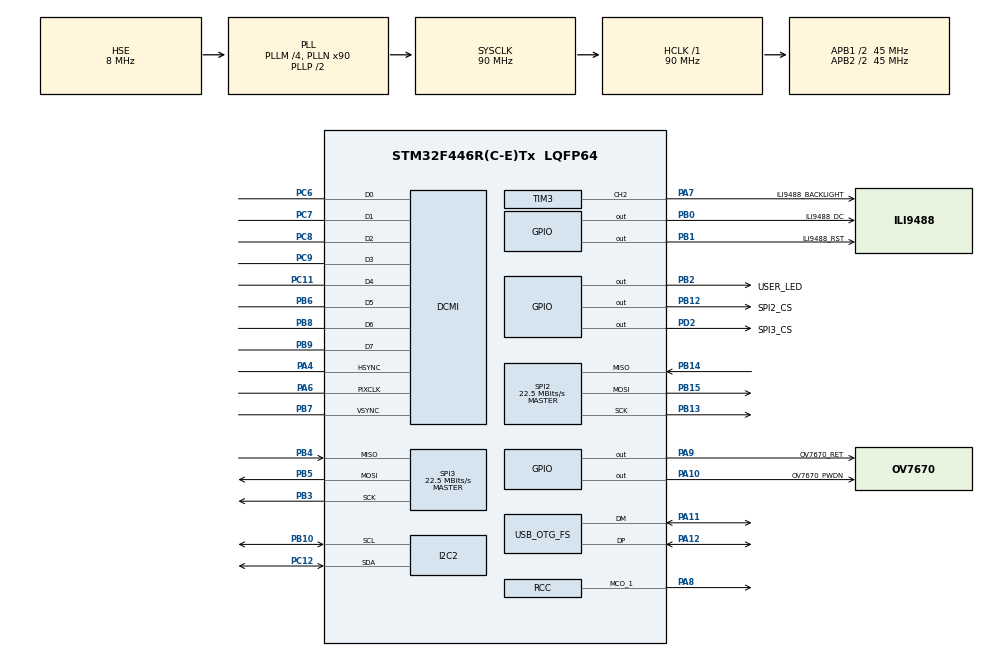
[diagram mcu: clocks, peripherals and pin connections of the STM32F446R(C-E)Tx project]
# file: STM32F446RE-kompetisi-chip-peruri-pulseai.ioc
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DCMI.JPEGMode=DCMI_JPEG_DISABLE
DCMI.PCKPolarity=DCMI_PCKPOLARITY_RISING
DCMI.VSPolarity=DCMI_VSPOLARITY_HIGH
Dma.DCMI.2.Direction=DMA_PERIPH_TO_MEMORY
Dma.DCMI.2.FIFOMode=DMA_FIFOMODE_DISABLE
Dma.DCMI.2.Instance=DMA2_Stream1
Dma.DCMI.2.MemDataAlignment=DMA_MDATAALIGN_WORD
Dma.DCMI.2.MemInc=DMA_MINC_ENABLE
Dma.DCMI.2.Mode=DMA_CIRCULAR
Dma.DCMI.2.PeriphDataAlignment=DMA_PDATAALIGN_WORD
Dma.DCMI.2.PeriphInc=DMA_PINC_DISABLE
Dma.DCMI.2.Priority=DMA_PRIORITY_LOW
Dma.Request0=SPI2_RX
Dma.Request1=SPI2_TX
Dma.Request2=DCMI
Dma.Request3=SPI3_RX
Dma.Request4=SPI3_TX
Dma.SPI2_RX.0.Direction=DMA_PERIPH_TO_MEMORY
Dma.SPI2_RX.0.FIFOMode=DMA_FIFOMODE_DISABLE
Dma.SPI2_RX.0.Instance=DMA1_Stream3
Dma.SPI2_RX.0.MemDataAlignment=DMA_MDATAALIGN_BYTE
Dma.SPI2_RX.0.MemInc=DMA_MINC_ENABLE
Dma.SPI2_RX.0.Mode=DMA_NORMAL
Dma.SPI2_RX.0.PeriphDataAlignment=DMA_PDATAALIGN_BYTE
Dma.SPI2_RX.0.PeriphInc=DMA_PINC_DISABLE
Dma.SPI2_RX.0.Priority=DMA_PRIORITY_LOW
Dma.SPI2_TX.1.Direction=DMA_MEMORY_TO_PERIPH
Dma.SPI2_TX.1.FIFOMode=DMA_FIFOMODE_DISABLE
Dma.SPI2_TX.1.Instance=DMA1_Stream4
Dma.SPI2_TX.1.MemDataAlignment=DMA_MDATAALIGN_BYTE
Dma.SPI2_TX.1.MemInc=DMA_MINC_ENABLE
Dma.SPI2_TX.1.Mode=DMA_NORMAL
Dma.SPI2_TX.1.PeriphDataAlignment=DMA_PDATAALIGN_BYTE
Dma.SPI2_TX.1.PeriphInc=DMA_PINC_DISABLE
Dma.SPI2_TX.1.Priority=DMA_PRIORITY_LOW
Dma.SPI3_RX.3.Direction=DMA_PERIPH_TO_MEMORY
Dma.SPI3_RX.3.FIFOMode=DMA_FIFOMODE_DISABLE
Dma.SPI3_RX.3.Instance=DMA1_Stream0
Dma.SPI3_RX.3.MemDataAlignment=DMA_MDATAALIGN_BYTE
Dma.SPI3_RX.3.MemInc=DMA_MINC_ENABLE
Dma.SPI3_RX.3.Mode=DMA_NORMAL
Dma.SPI3_RX.3.PeriphDataAlignment=DMA_PDATAALIGN_BYTE
Dma.SPI3_RX.3.PeriphInc=DMA_PINC_DISABLE
Dma.SPI3_RX.3.Priority=DMA_PRIORITY_LOW
Dma.SPI3_TX.4.Direction=DMA_MEMORY_TO_PERIPH
Dma.SPI3_TX.4.FIFOMode=DMA_FIFOMODE_DISABLE
Dma.SPI3_TX.4.Instance=DMA1_Stream5
Dma.SPI3_TX.4.MemDataAlignment=DMA_MDATAALIGN_BYTE
Dma.SPI3_TX.4.MemInc=DMA_MINC_ENABLE
Dma.SPI3_TX.4.Mode=DMA_NORMAL
Dma.SPI3_TX.4.PeriphDataAlignment=DMA_PDATAALIGN_BYTE
Dma.SPI3_TX.4.PeriphInc=DMA_PINC_DISABLE
Dma.SPI3_TX.4.Priority=DMA_PRIORITY_LOW
Mcu.Family=STM32F4
Mcu.Name=STM32F446R(C-E)Tx
Mcu.Package=LQFP64
NVIC.DCMI_IRQn=true\:0\:0\:false\:false\:true\:true\:true\:true
NVIC.DMA1_Stream0_IRQn=true\:0\:0\:false\:false\:true\:false\:true\:true
NVIC.DMA1_Stream3_IRQn=true\:0\:0\:false\:false\:true\:false\:true\:true
NVIC.DMA1_Stream4_IRQn=true\:0\:0\:false\:false\:true\:false\:true\:true
NVIC.DMA1_Stream5_IRQn=true\:0\:0\:false\:false\:true\:false\:true\:true
NVIC.DMA2_Stream1_IRQn=true\:0\:0\:false\:false\:true\:false\:true\:true
NVIC.I2C2_ER_IRQn=true\:0\:0\:false\:false\:true\:true\:true\:true
NVIC.I2C2_EV_IRQn=true\:0\:0\:false\:false\:true\:true\:true\:true
NVIC.OTG_FS_IRQn=true\:0\:0\:false\:false\:true\:false\:true\:true
NVIC.PriorityGroup=NVIC_PRIORITYGROUP_4
NVIC.SPI2_IRQn=true\:0\:0\:false\:false\:true\:true\:true\:true
NVIC.SPI3_IRQn=true\:0\:0\:false\:false\:true\:true\:true\:true
PA10.GPIO_Label=OV7670_PWDN
PA10.Signal=GPIO_Output
PA11.Mode=Device_Only
PA11.Signal=USB_OTG_FS_DM
PA12.Mode=Device_Only
PA12.Signal=USB_OTG_FS_DP
PA13.Mode=Serial_Wire
PA13.Signal=SYS_JTMS-SWDIO
PA14.Mode=Serial_Wire
PA14.Signal=SYS_JTCK-SWCLK
PA4.Mode=Slave_8_bits_External_Synchro
PA4.Signal=DCMI_HSYNC
PA6.Mode=Slave_8_bits_External_Synchro
PA6.Signal=DCMI_PIXCLK
PA7.GPIO_Label=ILI9488_BACKLIGHT
PA7.Signal=S_TIM3_CH2
PA8.GPIO_Speed=GPIO_SPEED_FREQ_HIGH
PA8.Mode=Clock-out-1
PA8.Signal=RCC_MCO_1
PA9.GPIO_Label=OV7670_RET
PA9.Signal=GPIO_Output
PB0.GPIO_Label=ILI9488_DC
PB0.Signal=GPIO_Output
PB1.GPIO_Label=ILI9488_RST
PB1.Signal=GPIO_Output
PB10.GPIO_Pu=GPIO_PULLUP
PB10.Mode=I2C
PB10.Signal=I2C2_SCL
PB12.GPIO_Label=SPI2_CS
PB12.Signal=GPIO_Output
PB13.Mode=Full_Duplex_Master
PB13.Signal=SPI2_SCK
PB14.Mode=Full_Duplex_Master
PB14.Signal=SPI2_MISO
PB15.Mode=Full_Duplex_Master
PB15.Signal=SPI2_MOSI
PB2.GPIO_Label=USER_LED
PB2.Signal=GPIO_Output
PB3.Mode=Full_Duplex_Master
PB3.Signal=SPI3_SCK
PB4.Mode=Full_Duplex_Master
PB4.Signal=SPI3_MISO
PB5.Mode=Full_Duplex_Master
PB5.Signal=SPI3_MOSI
PB6.Mode=Slave_8_bits_External_Synchro
PB6.Signal=DCMI_D5
PB7.Mode=Slave_8_bits_External_Synchro
PB7.Signal=DCMI_VSYNC
PB8.Mode=Slave_8_bits_External_Synchro
PB8.Signal=DCMI_D6
PB9.Mode=Slave_8_bits_External_Synchro
PB9.Signal=DCMI_D7
PC11.Mode=Slave_8_bits_External_Synchro
PC11.Signal=DCMI_D4
PC12.GPIO_Pu=GPIO_PULLUP
PC12.Mode=I2C
PC12.Signal=I2C2_SDA
PC14-OSC32_IN.Mode=LSE-External-Oscillator
PC14-OSC32_IN.Signal=RCC_OSC32_IN
PC15-OSC32_OUT.Mode=LSE-External-Oscillator
PC15-OSC32_OUT.Signal=RCC_OSC32_OUT
PC6.Mode=Slave_8_bits_External_Synchro
PC6.Signal=DCMI_D0
PC7.Mode=Slave_8_bits_External_Synchro
PC7.Signal=DCMI_D1
PC8.Mode=Slave_8_bits_External_Synchro
PC8.Signal=DCMI_D2
PC9.Mode=Slave_8_bits_External_Synchro
PC9.Signal=DCMI_D3
PD2.GPIO_Label=SPI3_CS
PD2.Signal=GPIO_Output
PH0-OSC_IN.Mode=HSE-External-Oscillator
PH0-OSC_IN.Signal=RCC_OSC_IN
PH1-OSC_OUT.Mode=HSE-External-Oscillator
PH1-OSC_OUT.Signal=RCC_OSC_OUT
ProjectManager.HeapSize=0x400
ProjectManager.StackSize=0x800
ProjectManager.TargetToolchain=STM32CubeIDE
RCC.AHBFreq_Value=90000000
RCC.APB1CLKDivider=RCC_HCLK_DIV2
RCC.APB1Freq_Value=45000000
RCC.APB1TimFreq_Value=90000000
RCC.APB2CLKDivider=RCC_HCLK_DIV2
RCC.APB2Freq_Value=45000000
RCC.APB2TimFreq_Value=90000000
RCC.CortexFreq_Value=90000000
RCC.HCLKFreq_Value=90000000
RCC.HSE_VALUE=8000000
RCC.PLLM=4
RCC.PLLN=90
RCC.PLLQ=5
RCC.PLLSAIM=4
RCC.PLLSAIN=96
RCC.PLLSAIP=RCC_PLLSAIP_DIV4
RCC.RCC_MCO1Source=RCC_MCO1SOURCE_PLLCLK
RCC.RCC_MCODiv1=RCC_MCODIV_4
RCC.SYSCLKFreq_VALUE=90000000
RCC.SYSCLKSource=RCC_SYSCLKSOURCE_PLLCLK
RCC.USBCLockSelection=RCC_CLK48CLKSOURCE_PLLSAIP
RCC.USBFreq_Value=48000000
RCC.VCOOutputFreq_Value=180000000
SH.S_TIM3_CH2.0=TIM3_CH2,PWM Generation2 CH2
SPI2.BaudRatePrescaler=SPI_BAUDRATEPRESCALER_2
SPI2.CalculateBaudRate=22.5 MBits/s
SPI2.Direction=SPI_DIRECTION_2LINES
SPI2.Mode=SPI_MODE_MASTER
SPI2.VirtualType=VM_MASTER
SPI3.CalculateBaudRate=22.5 MBits/s
SPI3.Direction=SPI_DIRECTION_2LINES
SPI3.Mode=SPI_MODE_MASTER
SPI3.VirtualType=VM_MASTER
TIM3.Channel-PWM\ Generation2\ CH2=TIM_CHANNEL_2
USB_DEVICE.CLASS_NAME_FS=CDC
USB_DEVICE.VirtualMode-CDC_FS=Cdc
USB_DEVICE.VirtualModeFS=Cdc_FS
USB_OTG_FS.VirtualMode=Device_Only
VP_LIBJPEG_VS_JPEGLIB.Mode=Enabled
VP_USB_DEVICE_VS_USB_DEVICE_CDC_FS.Mode=CDC_FS
board=custom

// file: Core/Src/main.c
/* USER CODE BEGIN Header */
/**
 ******************************************************************************
 * @file           : main.c
 * @brief          : Main program body
 ******************************************************************************
 * @attention
 *
 * Copyright (c) 2026 STMicroelectronics.
 * All rights reserved.
 *
 * This software is licensed under terms that can be found in the LICENSE file
 * in the root directory of this software component.
 * If no LICENSE file comes with this software, it is provided AS-IS.
 *
 ******************************************************************************
 */
/* USER CODE END Header */
#include "main.h"
#include "libjpeg.h"
#include "usb_device.h"

/* USER CODE BEGIN Includes */
#include "fonts.h"
#include "ili9488.h"
#include "ov7670.h"
#include "usbd_cdc_if.h"

/* USER CODE END Includes */

/* USER CODE BEGIN PTD */
uint8_t usb_tx_buf[786];
/* USER CODE END PTD */

DCMI_HandleTypeDef hdcmi;
DMA_HandleTypeDef hdma_dcmi;

I2C_HandleTypeDef hi2c2;

SPI_HandleTypeDef hspi2;
SPI_HandleTypeDef hspi3;
DMA_HandleTypeDef hdma_spi2_rx;
DMA_HandleTypeDef hdma_spi2_tx;
DMA_HandleTypeDef hdma_spi3_rx;
DMA_HandleTypeDef hdma_spi3_tx;

TIM_HandleTypeDef htim3;

/* USER CODE BEGIN PV */
uint32_t camera_frame_buf[240 * 160 / 2];
volatile uint8_t frame_ready = 0;
/* USER CODE END PV */

void SystemClock_Config(void);
static void MX_GPIO_Init(void);
static void MX_DMA_Init(void);
static void MX_DCMI_Init(void);
static void MX_SPI2_Init(void);
static void MX_I2C2_Init(void);
static void MX_TIM3_Init(void);
static void MX_SPI3_Init(void);

/* USER CODE BEGIN 0 */
void HAL_DCMI_FrameEventCallback(DCMI_HandleTypeDef *hdcmi) { frame_ready = 1; }
/* USER CODE END 0 */

int main(void) {

  /* MCU Configuration--------------------------------------------------------*/

  /* Reset of all peripherals, Initializes the Flash interface and the Systick.
   */
  HAL_Init();

  /* Configure the system clock */
  SystemClock_Config();

  /* Initialize all configured peripherals */
  MX_GPIO_Init();
  MX_DMA_Init();
  MX_DCMI_Init();
  MX_SPI2_Init();
  MX_I2C2_Init();
  MX_TIM3_Init();
  MX_LIBJPEG_Init();
  MX_USB_DEVICE_Init();
  MX_SPI3_Init();
  /* USER CODE BEGIN 2 */
  ILI9488_Init();
  ILI9488_FillScreen(ILI9488_BLACK);

  OV7670_Init();

  // Gunakan fitur Crop DCMI untuk mengambil jendela 240x160 dari kamera
  // beresolusi QVGA (320x240) X Offset = (320-240)/2 = 40 piksel = 80 bytes. Y
  // Offset = (240-160)/2 = 40 baris.
  HAL_DCMI_ConfigCrop(&hdcmi, 80, 40, 479, 159);
  HAL_DCMI_EnableCrop(&hdcmi);

  // Turn on Display Backlight (PA7 - TIM3_CH2)
  HAL_TIM_PWM_Start(&htim3, TIM_CHANNEL_2);
  __HAL_TIM_SET_COMPARE(&htim3, TIM_CHANNEL_2, 65535); // 100% brightness

  // Start DCMI in CONTINUOUS mode (camera writes to RAM continuously in
  // background)
  HAL_DCMI_Start_DMA(&hdcmi, DCMI_MODE_CONTINUOUS, (uint32_t)camera_frame_buf,
                     19200);
  /* USER CODE END 2 */

  /* Infinite loop */
  /* USER CODE BEGIN WHILE */
  uint8_t spi_tx_buf[98];
  uint8_t spi_rx_buf[98];

  while (1) {
    if (frame_ready) {
      frame_ready = 0; // Clear flag BEFORE drawing so we don't miss the next
                       // frame interrupt!
      HAL_GPIO_TogglePin(USER_LED_GPIO_Port, USER_LED_Pin);

      // --- 1. DOWNSAMPLING TO 28x28 AVERAGE POOLING ---
      usb_tx_buf[0] = 0xAA;
      usb_tx_buf[1] = 0x55;
      int idx = 2;

      // Bersihkan buffer SPI
      memset(spi_tx_buf, 0, sizeof(spi_tx_buf));

      int bit_idx = 0;
      // Loop untuk 28x28 piksel target
      for (int dy = 0; dy < 28; dy++) {
        for (int dx = 0; dx < 28; dx++) {

          uint32_t sum_gray = 0;

          // Average Pooling: Iterasi setiap piksel di dalam blok 4x4
          for (int by = 0; by < 4; by++) {
            for (int bx = 0; bx < 4; bx++) {

              int sy = 24 + (dy * 4) + by;
              int sx = 64 + (dx * 4) + bx;
              uint16_t p = ((uint16_t *)camera_frame_buf)[sy * 240 + sx];

              // Endian swap (karena OV7670 Big Endian)
              p = (p >> 8) | (p << 8);

              uint8_t r = (p & 0xF800) >> 8;
              uint8_t g = (p & 0x07E0) >> 3;
              uint8_t b = (p & 0x001F) << 3;

              // Formula Luminosity (Bobot persepsi mata manusia: Green paling
              // dominan) L = (2*R + 5*G + B) / 8 -> Sangat efisien dengan bit
              // shift (>> 3)
              uint8_t gray = ((r << 1) + (g * 5) + b) >> 3;

              sum_gray += gray;
            }
          }

          // Simpan nilai rata-rata dari 16 piksel
          uint8_t final_gray = sum_gray >> 4;
          usb_tx_buf[idx++] = final_gray;

          // Binarisasi dan Packing ke 98 bytes (784 bit) untuk FPGA
          // Ambang batas binarisasi = 127
          if (final_gray > 127) {
            int byte_pos = bit_idx / 8;
            int bit_pos = 7 - (bit_idx % 8); // MSB first
            spi_tx_buf[byte_pos] |= (1 << bit_pos);
          }
          bit_idx++;
        }
      }

      // Kirim 786 byte ke PC via USB CDC
      CDC_Transmit_FS(usb_tx_buf, 786);

      // --- 2. KIRIM FRAME DAN BACA HASIL SEKALIGUS (FULL DUPLEX) ---
      // STM32 mengirim 98 bytes (784 bit) biner, dan MISO akan mengeluarkan
      // hasil frame sebelumnya
      HAL_GPIO_WritePin(SPI3_CS_GPIO_Port, SPI3_CS_Pin, GPIO_PIN_RESET);
      HAL_SPI_TransmitReceive(&hspi3, spi_tx_buf, spi_rx_buf, 98,
                              HAL_MAX_DELAY);
      HAL_GPIO_WritePin(SPI3_CS_GPIO_Port, SPI3_CS_Pin, GPIO_PIN_SET);

      // Tunggu FPGA memproses frame yang baru saja dikirim (hasilnya dibaca di
      // loop berikutnya)
      HAL_Delay(1);

      // --- 4. TAMPILKAN KE LAYAR LCD ---
      ILI9488_DrawCameraFrame((uint16_t *)camera_frame_buf);

      // Decode Hasil FPGA (Marker 0xAA)
      // Format dari fpga tx_shift_reg: {6'b101010, tx_data}
      if ((spi_rx_buf[0] & 0xFC) == 0xA8) {
        uint8_t class_id = spi_rx_buf[0] & 0x03;
        const char *labels[] = {"Tidak ada benda terdeteksi", "Lingkaran",
                                "Segiempat", "Segitiga"};

        // Gambar Background Label di pojok layar
        ILI9488_FillRectangle(10, 10, 400, 30, ILI9488_BLACK);
        ILI9488_WriteStringScaled(15, 15, labels[class_id], Font_7x10,
                                  ILI9488_GREEN, ILI9488_BLACK, 2);
      } else { // komunikasi spi ada yang salah
        ILI9488_FillRectangle(10, 10, 400, 30, ILI9488_BLACK);
        ILI9488_WriteStringScaled(15, 15, "SPI ERROR", Font_7x10, ILI9488_GREEN,
                                  ILI9488_BLACK, 2);
      }
    }
    /* USER CODE END WHILE */

  }
}

void SystemClock_Config(void) {
  RCC_OscInitTypeDef RCC_OscInitStruct = {0};
  RCC_ClkInitTypeDef RCC_ClkInitStruct = {0};

  /** Configure the main internal regulator output voltage
   */
  __HAL_RCC_PWR_CLK_ENABLE();
  __HAL_PWR_VOLTAGESCALING_CONFIG(PWR_REGULATOR_VOLTAGE_SCALE3);

  /** Initializes the RCC Oscillators according to the specified parameters
   * in the RCC_OscInitTypeDef structure.
   */
  RCC_OscInitStruct.OscillatorType = RCC_OSCILLATORTYPE_HSE;
  RCC_OscInitStruct.HSEState = RCC_HSE_ON;
  RCC_OscInitStruct.PLL.PLLState = RCC_PLL_ON;
  RCC_OscInitStruct.PLL.PLLSource = RCC_PLLSOURCE_HSE;
  RCC_OscInitStruct.PLL.PLLM = 4;
  RCC_OscInitStruct.PLL.PLLN = 90;
  RCC_OscInitStruct.PLL.PLLP = RCC_PLLP_DIV2;
  RCC_OscInitStruct.PLL.PLLQ = 5;
  RCC_OscInitStruct.PLL.PLLR = 2;
  if (HAL_RCC_OscConfig(&RCC_OscInitStruct) != HAL_OK) {
    Error_Handler();
  }

  /** Initializes the CPU, AHB and APB buses clocks
   */
  RCC_ClkInitStruct.ClockType = RCC_CLOCKTYPE_HCLK | RCC_CLOCKTYPE_SYSCLK |
                                RCC_CLOCKTYPE_PCLK1 | RCC_CLOCKTYPE_PCLK2;
  RCC_ClkInitStruct.SYSCLKSource = RCC_SYSCLKSOURCE_PLLCLK;
  RCC_ClkInitStruct.AHBCLKDivider = RCC_SYSCLK_DIV1;
  RCC_ClkInitStruct.APB1CLKDivider = RCC_HCLK_DIV2;
  RCC_ClkInitStruct.APB2CLKDivider = RCC_HCLK_DIV2;

  if (HAL_RCC_ClockConfig(&RCC_ClkInitStruct, FLASH_LATENCY_2) != HAL_OK) {
    Error_Handler();
  }
  HAL_RCC_MCOConfig(RCC_MCO1, RCC_MCO1SOURCE_PLLCLK, RCC_MCODIV_4);
}

static void MX_DCMI_Init(void) {

  hdcmi.Instance = DCMI;
  hdcmi.Init.SynchroMode = DCMI_SYNCHRO_HARDWARE;
  hdcmi.Init.PCKPolarity = DCMI_PCKPOLARITY_RISING;
  hdcmi.Init.VSPolarity = DCMI_VSPOLARITY_HIGH;
  hdcmi.Init.HSPolarity = DCMI_HSPOLARITY_LOW;
  hdcmi.Init.CaptureRate = DCMI_CR_ALL_FRAME;
  hdcmi.Init.ExtendedDataMode = DCMI_EXTEND_DATA_8B;
  hdcmi.Init.JPEGMode = DCMI_JPEG_DISABLE;
  hdcmi.Init.ByteSelectMode = DCMI_BSM_ALL;
  hdcmi.Init.ByteSelectStart = DCMI_OEBS_ODD;
  hdcmi.Init.LineSelectMode = DCMI_LSM_ALL;
  hdcmi.Init.LineSelectStart = DCMI_OELS_ODD;
  if (HAL_DCMI_Init(&hdcmi) != HAL_OK) {
    Error_Handler();
  }
}

static void MX_I2C2_Init(void) {

  hi2c2.Instance = I2C2;
  hi2c2.Init.ClockSpeed = 100000;
  hi2c2.Init.DutyCycle = I2C_DUTYCYCLE_2;
  hi2c2.Init.OwnAddress1 = 0;
  hi2c2.Init.AddressingMode = I2C_ADDRESSINGMODE_7BIT;
  hi2c2.Init.DualAddressMode = I2C_DUALADDRESS_DISABLE;
  hi2c2.Init.OwnAddress2 = 0;
  hi2c2.Init.GeneralCallMode = I2C_GENERALCALL_DISABLE;
  hi2c2.Init.NoStretchMode = I2C_NOSTRETCH_DISABLE;
  if (HAL_I2C_Init(&hi2c2) != HAL_OK) {
    Error_Handler();
  }
}

static void MX_SPI2_Init(void) {

  /* SPI2 parameter configuration*/
  hspi2.Instance = SPI2;
  hspi2.Init.Mode = SPI_MODE_MASTER;
  hspi2.Init.Direction = SPI_DIRECTION_2LINES;
  hspi2.Init.DataSize = SPI_DATASIZE_8BIT;
  hspi2.Init.CLKPolarity = SPI_POLARITY_LOW;
  hspi2.Init.CLKPhase = SPI_PHASE_1EDGE;
  hspi2.Init.NSS = SPI_NSS_SOFT;
  hspi2.Init.BaudRatePrescaler = SPI_BAUDRATEPRESCALER_2;
  hspi2.Init.FirstBit = SPI_FIRSTBIT_MSB;
  hspi2.Init.TIMode = SPI_TIMODE_DISABLE;
  hspi2.Init.CRCCalculation = SPI_CRCCALCULATION_DISABLE;
  hspi2.Init.CRCPolynomial = 10;
  if (HAL_SPI_Init(&hspi2) != HAL_OK) {
    Error_Handler();
  }
}

static void MX_SPI3_Init(void) {

  /* SPI3 parameter configuration*/
  hspi3.Instance = SPI3;
  hspi3.Init.Mode = SPI_MODE_MASTER;
  hspi3.Init.Direction = SPI_DIRECTION_2LINES;
  hspi3.Init.DataSize = SPI_DATASIZE_8BIT;
  hspi3.Init.CLKPolarity = SPI_POLARITY_LOW;
  hspi3.Init.CLKPhase = SPI_PHASE_1EDGE;
  hspi3.Init.NSS = SPI_NSS_SOFT;
  hspi3.Init.BaudRatePrescaler = SPI_BAUDRATEPRESCALER_2;
  hspi3.Init.FirstBit = SPI_FIRSTBIT_MSB;
  hspi3.Init.TIMode = SPI_TIMODE_DISABLE;
  hspi3.Init.CRCCalculation = SPI_CRCCALCULATION_DISABLE;
  hspi3.Init.CRCPolynomial = 10;
  if (HAL_SPI_Init(&hspi3) != HAL_OK) {
    Error_Handler();
  }
}

static void MX_TIM3_Init(void) {

  TIM_MasterConfigTypeDef sMasterConfig = {0};
  TIM_OC_InitTypeDef sConfigOC = {0};

  htim3.Instance = TIM3;
  htim3.Init.Prescaler = 0;
  htim3.Init.CounterMode = TIM_COUNTERMODE_UP;
  htim3.Init.Period = 65535;
  htim3.Init.ClockDivision = TIM_CLOCKDIVISION_DIV1;
  htim3.Init.AutoReloadPreload = TIM_AUTORELOAD_PRELOAD_DISABLE;
  if (HAL_TIM_PWM_Init(&htim3) != HAL_OK) {
    Error_Handler();
  }
  sMasterConfig.MasterOutputTrigger = TIM_TRGO_RESET;
  sMasterConfig.MasterSlaveMode = TIM_MASTERSLAVEMODE_DISABLE;
  if (HAL_TIMEx_MasterConfigSynchronization(&htim3, &sMasterConfig) != HAL_OK) {
    Error_Handler();
  }
  sConfigOC.OCMode = TIM_OCMODE_PWM1;
  sConfigOC.Pulse = 0;
  sConfigOC.OCPolarity = TIM_OCPOLARITY_HIGH;
  sConfigOC.OCFastMode = TIM_OCFAST_DISABLE;
  if (HAL_TIM_PWM_ConfigChannel(&htim3, &sConfigOC, TIM_CHANNEL_2) != HAL_OK) {
    Error_Handler();
  }
  HAL_TIM_MspPostInit(&htim3);
}

static void MX_DMA_Init(void) {

  /* DMA controller clock enable */
  __HAL_RCC_DMA1_CLK_ENABLE();
  __HAL_RCC_DMA2_CLK_ENABLE();

  /* DMA interrupt init */
  /* DMA1_Stream0_IRQn interrupt configuration */
  HAL_NVIC_SetPriority(DMA1_Stream0_IRQn, 0, 0);
  HAL_NVIC_EnableIRQ(DMA1_Stream0_IRQn);
  /* DMA1_Stream3_IRQn interrupt configuration */
  HAL_NVIC_SetPriority(DMA1_Stream3_IRQn, 0, 0);
  HAL_NVIC_EnableIRQ(DMA1_Stream3_IRQn);
  /* DMA1_Stream4_IRQn interrupt configuration */
  HAL_NVIC_SetPriority(DMA1_Stream4_IRQn, 0, 0);
  HAL_NVIC_EnableIRQ(DMA1_Stream4_IRQn);
  /* DMA1_Stream5_IRQn interrupt configuration */
  HAL_NVIC_SetPriority(DMA1_Stream5_IRQn, 0, 0);
  HAL_NVIC_EnableIRQ(DMA1_Stream5_IRQn);
  /* DMA2_Stream1_IRQn interrupt configuration */
  HAL_NVIC_SetPriority(DMA2_Stream1_IRQn, 0, 0);
  HAL_NVIC_EnableIRQ(DMA2_Stream1_IRQn);
}

static void MX_GPIO_Init(void) {
  GPIO_InitTypeDef GPIO_InitStruct = {0};

  /* GPIO Ports Clock Enable */
  __HAL_RCC_GPIOC_CLK_ENABLE();
  __HAL_RCC_GPIOH_CLK_ENABLE();
  __HAL_RCC_GPIOA_CLK_ENABLE();
  __HAL_RCC_GPIOB_CLK_ENABLE();
  __HAL_RCC_GPIOD_CLK_ENABLE();

  /*Configure GPIO pin Output Level */
  HAL_GPIO_WritePin(
      GPIOB, ILI9488_DC_Pin | ILI9488_RST_Pin | USER_LED_Pin | SPI2_CS_Pin,
      GPIO_PIN_RESET);

  /*Configure GPIO pin Output Level */
  HAL_GPIO_WritePin(GPIOA, OV7670_RET_Pin | OV7670_PWDN_Pin, GPIO_PIN_RESET);

  /*Configure GPIO pin Output Level */
  HAL_GPIO_WritePin(SPI3_CS_GPIO_Port, SPI3_CS_Pin, GPIO_PIN_RESET);

  /*Configure GPIO pins : ILI9488_DC_Pin ILI9488_RST_Pin USER_LED_Pin
   * SPI2_CS_Pin */
  GPIO_InitStruct.Pin =
      ILI9488_DC_Pin | ILI9488_RST_Pin | USER_LED_Pin | SPI2_CS_Pin;
  GPIO_InitStruct.Mode = GPIO_MODE_OUTPUT_PP;
  GPIO_InitStruct.Pull = GPIO_NOPULL;
  GPIO_InitStruct.Speed = GPIO_SPEED_FREQ_LOW;
  HAL_GPIO_Init(GPIOB, &GPIO_InitStruct);

  /*Configure GPIO pin : PA8 */
  GPIO_InitStruct.Pin = GPIO_PIN_8;
  GPIO_InitStruct.Mode = GPIO_MODE_AF_PP;
  GPIO_InitStruct.Pull = GPIO_NOPULL;
  GPIO_InitStruct.Speed = GPIO_SPEED_FREQ_HIGH;
  GPIO_InitStruct.Alternate = GPIO_AF0_MCO;
  HAL_GPIO_Init(GPIOA, &GPIO_InitStruct);

  /*Configure GPIO pins : OV7670_RET_Pin OV7670_PWDN_Pin */
  GPIO_InitStruct.Pin = OV7670_RET_Pin | OV7670_PWDN_Pin;
  GPIO_InitStruct.Mode = GPIO_MODE_OUTPUT_PP;
  GPIO_InitStruct.Pull = GPIO_NOPULL;
  GPIO_InitStruct.Speed = GPIO_SPEED_FREQ_LOW;
  HAL_GPIO_Init(GPIOA, &GPIO_InitStruct);

  /*Configure GPIO pin : SPI3_CS_Pin */
  GPIO_InitStruct.Pin = SPI3_CS_Pin;
  GPIO_InitStruct.Mode = GPIO_MODE_OUTPUT_PP;
  GPIO_InitStruct.Pull = GPIO_NOPULL;
  GPIO_InitStruct.Speed = GPIO_SPEED_FREQ_LOW;
  HAL_GPIO_Init(SPI3_CS_GPIO_Port, &GPIO_InitStruct);

}

void Error_Handler(void) {
  __disable_irq();
  while (1) {
  }
}
#ifdef USE_FULL_ASSERT
/**
 * @brief  Reports the name of the source file and the source line number
 *         where the assert_param error has occurred.
 * @param  file: pointer to the source file name
 * @param  line: assert_param error line source number
 * @retval None
 */
void assert_failed(uint8_t *file, uint32_t line) {
  /* USER CODE BEGIN 6 */
  /* User can add his own implementation to report the file name and line
     number, ex: printf("Wrong parameters value: file %s on line %d\r\n", file,
     line) */
  /* USER CODE END 6 */
}
#endif /* USE_FULL_ASSERT */
